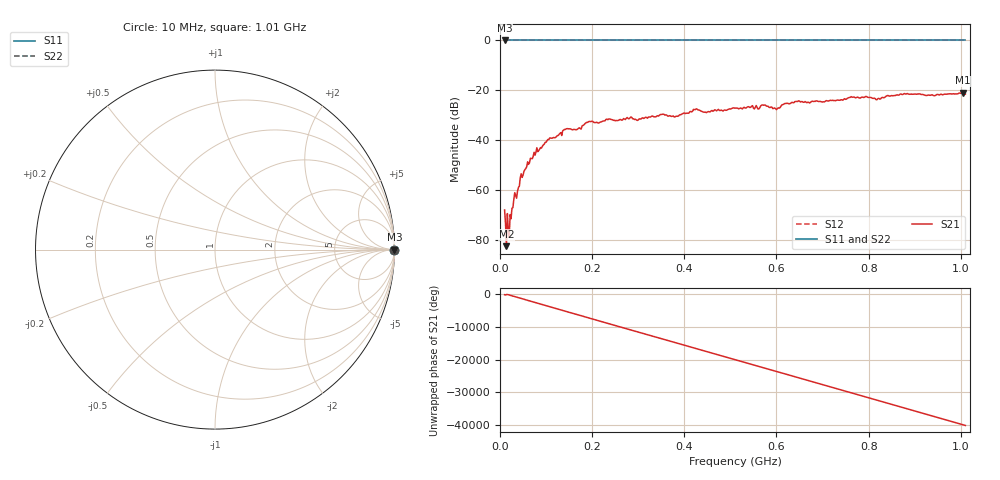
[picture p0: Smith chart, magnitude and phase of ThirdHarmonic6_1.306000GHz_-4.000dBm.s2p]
! 8/16/2025 2:24:12 PM
! C:\ANRITSUVNA\TEMP\TEMP.S2P
! CHANNEL.1
! TR.MEASUREMENT
! RAW.DATA
! RF.CORRECTION.OFF
! AVERAGING.OFF
! IF.BANDWIDTH: 5KHZ
! SWEEPTYPE:  FREQ.SWEEP(Linear)
! Reference Plane Port Info
! PORT:  PORT1  PORT2
! DISTANCE:  0  m  0  m
! TIME:  0  s  0  s
! PHASE.OFFSET:  0  deg.  0  deg.
! LOSS:  0  dB  0  dB
! REF.LOSS:  0  dB  0  dB
! REF.FREQ:  0  Hz  0  Hz
! Power Info
! POWER:  -20  dBm  -20  dBm
! EFF.POWER:  -20  dBm  -20  dBm
! SOURCE.ATTEN:  0  dB  0  dB
! TEST.ATTEN:  0  dB  0  dB
# GHZ S RI R 50.0
! FREQ.GHZ  S11RE  S11IM  S21RE  S21IM  S12RE  S12IM  S22RE  S22IM
!; PortSelection: Port_12
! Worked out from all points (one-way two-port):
!   501 points, 10 MHz to 1.01 GHz, reference 50 ohm
!   highest |S21| = -20.99 dB at 1.004 GHz (marker M1); lowest = -82.5 dB at 14 MHz (marker M2)
!   lowest |S11| = 0.0 dB at 10 MHz (marker M3)
!   |S11| at or under -10 dB: nowhere
!   |S22| runs from 0.0 to 0.0 dB; largest |S21 - S12| = 1.1
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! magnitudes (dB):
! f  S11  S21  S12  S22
! 10 MHz  0.0  -68.0  0.0  0.0
! 14 MHz  0.0  -82.5  0.0  0.0
! 16 MHz  0.0  -69.4  0.0  0.0
! 22 MHz  0.0  -69.8  0.0  0.0
! 30 MHz  0.0  -63.8  0.0  0.0
! 48 MHz  0.0  -54.9  0.0  0.0
! 76 MHz  0.0  -46.0  0.0  0.0
! 106 MHz  0.0  -39.7  0.0  0.0
! 140 MHz  0.0  -35.6  0.0  0.0
! 178 MHz  0.0  -34.3  0.0  0.0
! 196 MHz  0.0  -32.5  0.0  0.0
! 344 MHz  0.0  -30.3  0.0  0.0
! 382 MHz  0.0  -30.4  0.0  0.0
! 424 MHz  0.0  -27.7  0.0  0.0
! 510 MHz  0.0  -27.1  0.0  0.0
! 572 MHz  0.0  -26.0  0.0  0.0
! 602 MHz  0.0  -27.3  0.0  0.0
! 620 MHz  0.0  -25.2  0.0  0.0
! 678 MHz  0.0  -24.3  0.0  0.0
! 844 MHz  0.0  -22.2  0.0  0.0
! 1.004 GHz  0.0  -21.0  0.0  0.0
! 1.01 GHz  0.0  -21.5  0.0  0.0
